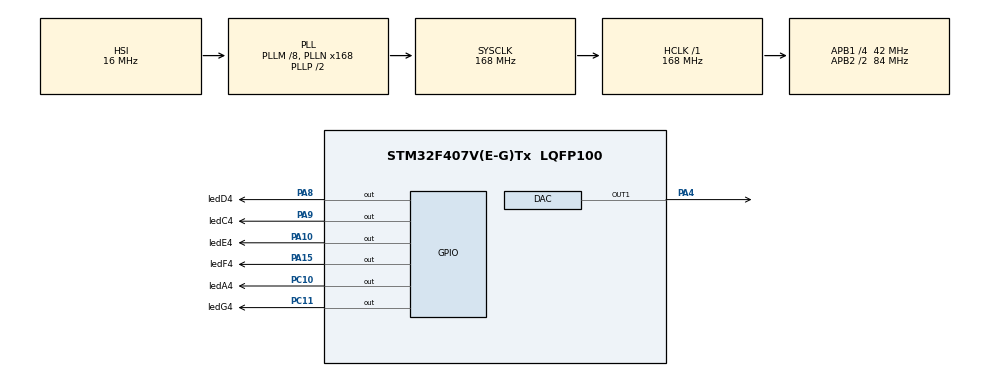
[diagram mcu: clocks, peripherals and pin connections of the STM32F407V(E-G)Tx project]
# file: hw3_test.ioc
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Mcu.Family=STM32F4
Mcu.Name=STM32F407V(E-G)Tx
Mcu.Package=LQFP100
NVIC.PriorityGroup=NVIC_PRIORITYGROUP_4
NVIC.TIM2_IRQn=true\:0\:0\:false\:false\:true\:true\:true
NVIC.TIM5_IRQn=true\:0\:0\:false\:false\:true\:true\:true
PA10.GPIO_Label=ledE4
PA10.Signal=GPIO_Output
PA13.Mode=Serial_Wire
PA13.Signal=SYS_JTMS-SWDIO
PA14.Mode=Serial_Wire
PA14.Signal=SYS_JTCK-SWCLK
PA15.GPIO_Label=ledF4
PA15.Signal=GPIO_Output
PA4.Signal=COMP_DAC1_group
PA8.GPIO_Label=ledD4
PA8.Signal=GPIO_Output
PA9.GPIO_Label=ledC4
PA9.Signal=GPIO_Output
PC10.GPIO_Label=ledA4
PC10.Signal=GPIO_Output
PC11.GPIO_Label=ledG4
PC11.Signal=GPIO_Output
PH0-OSC_IN.Mode=HSE-External-Oscillator
PH0-OSC_IN.Signal=RCC_OSC_IN
PH1-OSC_OUT.Mode=HSE-External-Oscillator
PH1-OSC_OUT.Signal=RCC_OSC_OUT
ProjectManager.HeapSize=0x200
ProjectManager.StackSize=0x400
ProjectManager.TargetToolchain=MDK-ARM V5.27
RCC.48MHZClocksFreq_Value=84000000
RCC.AHBFreq_Value=168000000
RCC.APB1CLKDivider=RCC_HCLK_DIV4
RCC.APB1Freq_Value=42000000
RCC.APB1TimFreq_Value=84000000
RCC.APB2CLKDivider=RCC_HCLK_DIV2
RCC.APB2Freq_Value=84000000
RCC.APB2TimFreq_Value=168000000
RCC.CortexFreq_Value=168000000
RCC.HCLKFreq_Value=168000000
RCC.HSE_VALUE=25000000
RCC.HSI_VALUE=16000000
RCC.LSE_VALUE=32768
RCC.PLLM=8
RCC.PLLN=168
RCC.SYSCLKFreq_VALUE=168000000
RCC.SYSCLKSource=RCC_SYSCLKSOURCE_PLLCLK
RCC.VCOOutputFreq_Value=336000000
SH.COMP_DAC1_group.0=DAC_OUT1,DAC_OUT1
TIM2.Channel-Output\ Compare2\ No\ Output=TIM_CHANNEL_2
TIM2.Period=0xffffffff
TIM2.Pulse-Output\ Compare2\ No\ Output=1603
TIM5.Channel-Output\ Compare1\ No\ Output=TIM_CHANNEL_1
TIM5.Period=0xffffffff
TIM5.Pulse-Output\ Compare1\ No\ Output=84000000
VP_TIM2_VS_ClockSourceINT.Mode=Internal
VP_TIM2_VS_no_output2.Mode=Output Compare2 No Output
VP_TIM5_VS_ClockSourceINT.Mode=Internal
VP_TIM5_VS_no_output1.Mode=Output Compare1 No Output
board=custom

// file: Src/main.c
/* USER CODE BEGIN Header */
/**
  ******************************************************************************
  * @file           : main.c
  * @brief          : Main program body
  ******************************************************************************
  * @attention
  *
  * <h2><center>&copy; Copyright (c) 2020 STMicroelectronics.
  * All rights reserved.</center></h2>
  *
  * This software component is licensed by ST under BSD 3-Clause license,
  * the "License"; You may not use this file except in compliance with the
  * License. You may obtain a copy of the License at:
  *                        opensource.org/licenses/BSD-3-Clause
  *
  ******************************************************************************
  */
/* USER CODE END Header */

#include "main.h"
#include "dac.h"
#include "tim.h"
#include "gpio.h"

/* USER CODE BEGIN PV */
void play_note(int note_freq,uint32_t note_duration);
const int N = 50;
uint16_t SINE_WAVE[N] =
{
	2048,2305,2557,2802,3035,3252,3450,3626,3777,3901,3996
	,4060,4092,4092,4060,3996,3901,3777,3626,3450,3252,3035
	,2802,2557,2305,2048,1791,1539,1294,1061,844,646,470,319
	,195,100,36,4,4,36,100,195,319,470,646,844,1061,1294,1539
	,1791

};
	int Note_Flag = 0 , Dac_Flag=0,Sine_Index = 0 ;
	uint32_t Q_Duration = 0,H_Duration = 0;
	const int A0= 27 , AH0=29 , B0 = 31 ;
	const int C1= 33 , CH1= 35 , D1 = 37 ,DH1=39 , E1=41 , F1 = 43 ,FH1=46,GH1=52 , A1 = 55 , AH1=58 ,B1=62;
	const int C2=65, CH2=70 ,D2=73,DH2=78,E2=82,F2=87,FH2=92,G2=98,GH2=104,A2=110 ,AH2=117,B2=123;
	const int C3=131,CH3=139,D3=147,DH3=156,E3=165,F3=175,FH3=185,G3=208 , A3=220 , AH3=233 ,B3=247;
	const int C4 = 262,CH4=277,D4 = 294, DH4=311 ,E4=330,  F4 = 349 , FH4=370 , G4=392	, A4 = 440  ,AH4=466, B4 =494;
	const int C5=523,CH5=554,D5=587,DH5=622,E5=660,F5=698,FH5=740,G5=384,GH5=831,A5=880,AH5=932,B5=988;
	const int C6=1046,CH6=1109,D6=1175,DH6=1244,E6=1318,F6=1307,FH6=1480,G6=1568,GH6=1661,A6=1760,AH6=1865,B6=1975;
	const int C7=2093,CH7=2217,D7=2349,DH7=2489,E7=2637,F7=2793,FH7=2960,G7=3136,GH7=3322,A7=3520,AH7=3729,B7=3951;
	const int C8=4186;

/* USER CODE END PV */

void SystemClock_Config(void);

int main(void)
{

  /* MCU Configuration--------------------------------------------------------*/

  /* Reset of all peripherals, Initializes the Flash interface and the Systick. */
  HAL_Init();

  /* Configure the system clock */
  SystemClock_Config();

  /* Initialize all configured peripherals */
  MX_GPIO_Init();
  MX_TIM2_Init();
  MX_TIM5_Init();
  MX_DAC_Init();
  /* USER CODE BEGIN 2 */

	uint32_t BpM = 120;
	Q_Duration = 60000/BpM;
	H_Duration = 2*60000/BpM;

  /* USER CODE END 2 */

  /* Infinite loop */
  /* USER CODE BEGIN WHILE */
  while (1)
  {
		//jingle bells
		play_note(E4,Q_Duration);
		play_note(E4,H_Duration);
		play_note(E4,Q_Duration);

		play_note(E4,Q_Duration);
		play_note(E4,H_Duration);
		play_note(E4,Q_Duration);

		play_note(E4,Q_Duration);
		play_note(G4,Q_Duration);
		play_note(C4,Q_Duration);
		play_note(D4,Q_Duration);
		play_note(E4,H_Duration);

		play_note(F4,Q_Duration);
		play_note(F4,Q_Duration);
		play_note(F4,Q_Duration);
		play_note(F4,Q_Duration);
		play_note(F4,Q_Duration);

		play_note(E4,Q_Duration);
		play_note(E4,Q_Duration);
		play_note(E4,H_Duration);
		play_note(E4,Q_Duration);

		play_note(D4,Q_Duration);
		play_note(D4,Q_Duration);
		play_note(E4,Q_Duration);
		play_note(D4,Q_Duration);
		play_note(G4,H_Duration);

		play_note(E4,Q_Duration);
		play_note(E4,Q_Duration);
		play_note(E4,H_Duration);

		play_note(E4,Q_Duration);
		play_note(G4,Q_Duration);
		play_note(C4,Q_Duration);
		play_note(D4,Q_Duration);
		play_note(E4,H_Duration);

		play_note(F4,Q_Duration);
		play_note(F4,Q_Duration);
		play_note(F4,Q_Duration);
		play_note(F4,Q_Duration);
		play_note(F4,Q_Duration);

		play_note(E4,Q_Duration);
		play_note(E4,Q_Duration);
		play_note(E4,H_Duration);
		play_note(E4,Q_Duration);

		play_note(G4,Q_Duration);
		play_note(G4,Q_Duration);
		play_note(F4,Q_Duration);
		play_note(D4,Q_Duration);
		play_note(C4,H_Duration);

    /* USER CODE END WHILE */

  }
}

void SystemClock_Config(void)
{
  RCC_OscInitTypeDef RCC_OscInitStruct = {0};
  RCC_ClkInitTypeDef RCC_ClkInitStruct = {0};

  /** Configure the main internal regulator output voltage
  */
  __HAL_RCC_PWR_CLK_ENABLE();
  __HAL_PWR_VOLTAGESCALING_CONFIG(PWR_REGULATOR_VOLTAGE_SCALE1);
  /** Initializes the CPU, AHB and APB busses clocks
  */
  RCC_OscInitStruct.OscillatorType = RCC_OSCILLATORTYPE_HSI;
  RCC_OscInitStruct.HSIState = RCC_HSI_ON;
  RCC_OscInitStruct.HSICalibrationValue = RCC_HSICALIBRATION_DEFAULT;
  RCC_OscInitStruct.PLL.PLLState = RCC_PLL_ON;
  RCC_OscInitStruct.PLL.PLLSource = RCC_PLLSOURCE_HSI;
  RCC_OscInitStruct.PLL.PLLM = 8;
  RCC_OscInitStruct.PLL.PLLN = 168;
  RCC_OscInitStruct.PLL.PLLP = RCC_PLLP_DIV2;
  RCC_OscInitStruct.PLL.PLLQ = 4;
  if (HAL_RCC_OscConfig(&RCC_OscInitStruct) != HAL_OK)
  {
    Error_Handler();
  }
  /** Initializes the CPU, AHB and APB busses clocks
  */
  RCC_ClkInitStruct.ClockType = RCC_CLOCKTYPE_HCLK|RCC_CLOCKTYPE_SYSCLK
                              |RCC_CLOCKTYPE_PCLK1|RCC_CLOCKTYPE_PCLK2;
  RCC_ClkInitStruct.SYSCLKSource = RCC_SYSCLKSOURCE_PLLCLK;
  RCC_ClkInitStruct.AHBCLKDivider = RCC_SYSCLK_DIV1;
  RCC_ClkInitStruct.APB1CLKDivider = RCC_HCLK_DIV4;
  RCC_ClkInitStruct.APB2CLKDivider = RCC_HCLK_DIV2;

  if (HAL_RCC_ClockConfig(&RCC_ClkInitStruct, FLASH_LATENCY_5) != HAL_OK)
  {
    Error_Handler();
  }
}

/* USER CODE BEGIN 4 */

void play_note(int note_freq,uint32_t note_duration)
{
	//to turn on the leds
	if(note_freq==C4)
	{
		HAL_GPIO_WritePin(GPIOA,ledC4_Pin,GPIO_PIN_SET);
	}
	if(note_freq==G4)
	{
		HAL_GPIO_WritePin(GPIOC,ledG4_Pin,GPIO_PIN_SET);
	}
	if(note_freq==D4)
	{
		HAL_GPIO_WritePin(GPIOA,ledD4_Pin,GPIO_PIN_SET);
	}
	if(note_freq==A4)
	{
		HAL_GPIO_WritePin(GPIOC,ledA4_Pin,GPIO_PIN_SET);
	}
	if(note_freq==E4)
	{
		HAL_GPIO_WritePin(GPIOA,ledE4_Pin,GPIO_PIN_SET);
	}
	if(note_freq==F4)
	{
		HAL_GPIO_WritePin(GPIOA,ledF4_Pin,GPIO_PIN_SET);
	}

	Note_Flag =0;
	Sine_Index = 0;
	uint32_t Time_Comparator2 = (uint32_t) 84000000/(note_freq*N); // 200 * t_sample = 1/212   f_Sample = 212*200
	uint32_t Time_Comparator5 = (uint32_t) (84000000  / 1000) * note_duration ;
	//starting timers
	HAL_TIM_OC_Start_IT(&htim2,TIM_CHANNEL_2);
	HAL_TIM_OC_Start_IT(&htim5,TIM_CHANNEL_1);
	//so we can compare whne to stop
	__HAL_TIM_SET_COMPARE(&htim2,TIM_CHANNEL_2,Time_Comparator2);
	__HAL_TIM_SET_COMPARE(&htim5,TIM_CHANNEL_1,Time_Comparator5);
	//counter is zero in start
	__HAL_TIM_SET_COUNTER(&htim2,0);
	__HAL_TIM_SET_COUNTER(&htim5,0);
	//starting the dac
	HAL_DAC_Start(&hdac,DAC_CHANNEL_1);

	while(Note_Flag==0)
	{
		if(Dac_Flag==1)
		{
			HAL_DAC_SetValue(&hdac,DAC_CHANNEL_1,DAC_ALIGN_12B_R,SINE_WAVE[Sine_Index]);
			__HAL_TIM_SET_COUNTER(&htim2,0);
			Sine_Index++;
			if(Sine_Index==N)
				Sine_Index = 0;
			Dac_Flag = 0; //so we can use the interupt again
		}
	}

	//setting the counter to zero and stoping the two timers
	__HAL_TIM_SetCounter(&htim5,0);
	HAL_TIM_OC_Stop_IT(&htim2,TIM_CHANNEL_2);
	HAL_TIM_OC_Stop_IT(&htim5,TIM_CHANNEL_1);
	HAL_DAC_Stop(&hdac,DAC_CHANNEL_1);
	//to turn off the leds
	if(note_freq==C4)
	{
		HAL_GPIO_WritePin(GPIOA,ledC4_Pin,GPIO_PIN_RESET);
	}
	if(note_freq==G4)
	{
		HAL_GPIO_WritePin(GPIOC,ledG4_Pin,GPIO_PIN_RESET);
	}
	if(note_freq==D4)
	{
		HAL_GPIO_WritePin(GPIOA,ledD4_Pin,GPIO_PIN_RESET);
	}
	if(note_freq==A4)
	{
		HAL_GPIO_WritePin(GPIOC,ledA4_Pin,GPIO_PIN_RESET);
	}
	if(note_freq==E4)
	{
		HAL_GPIO_WritePin(GPIOA,ledE4_Pin,GPIO_PIN_RESET);
	}
	if(note_freq==F4)
	{
		HAL_GPIO_WritePin(GPIOA,ledF4_Pin,GPIO_PIN_RESET);
	}

}

void HAL_TIM_OC_DelayElapsedCallback(TIM_HandleTypeDef *htim)
{

	if(htim->Channel == HAL_TIM_ACTIVE_CHANNEL_2)
	{
		Dac_Flag = 1;
	}
	else if (htim->Channel == HAL_TIM_ACTIVE_CHANNEL_1)
	{
		Note_Flag = 1;
	}

}

/* USER CODE END 4 */

void Error_Handler(void)
{
}

/************************ (C) COPYRIGHT STMicroelectronics *****END OF FILE****/
